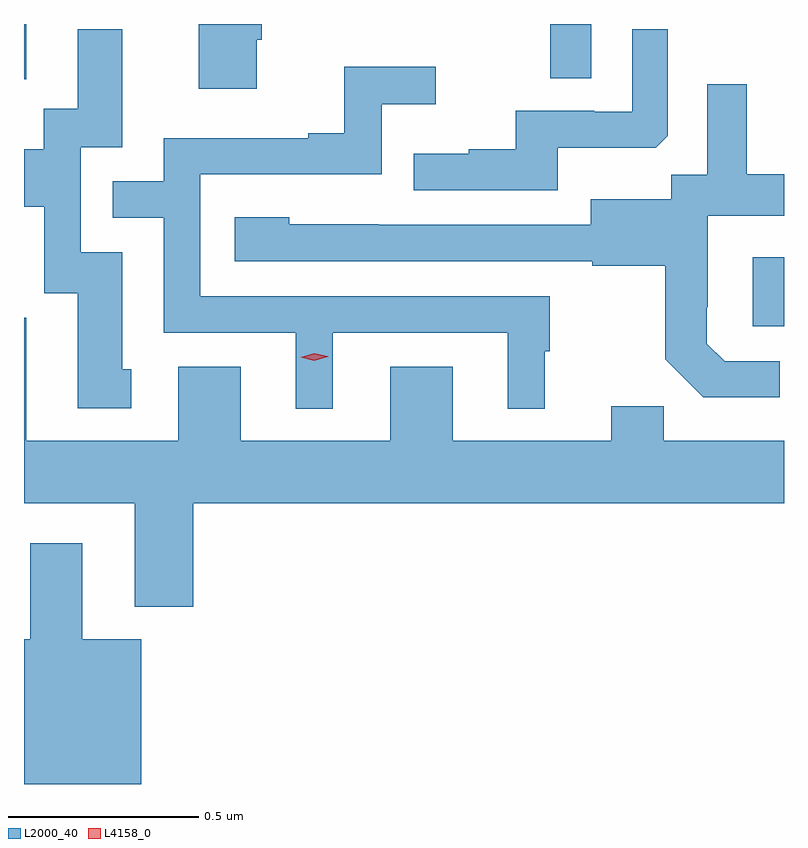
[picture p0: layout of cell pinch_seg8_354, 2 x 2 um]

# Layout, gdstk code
import gdstk
lib = gdstk.Library(unit=1e-6, precision=1e-09)
def R(c, l, rs):  # rectangles x0, y0, x1, y1
    for r in rs: c.add(gdstk.rectangle(r[:2], r[2:], *l))
def P(c, l, *ps):  # polygons
    for p in ps: c.add(gdstk.Polygon(p, *l))
L2000_40 = (2000, 40)
L4158_0 = (4158, 0)

pinch_seg8_354 = lib.new_cell('pinch_seg8_354')
R(pinch_seg8_354, L2000_40, [(433.937,1143.606,434.019,1143.787), (432.019,1144.256,432.025,1144.401), (433.404,1144.258,433.512,1144.401)])
P(pinch_seg8_354, L2000_40, [(432.631,1144.359),(432.644,1144.359),(432.644,1144.401),(432.479,1144.401),(432.479,1144.23),(432.631,1144.23)],
  [(432.301,1143.492),(432.277,1143.492),(432.277,1143.801),(432.168,1143.801),(432.168,1144.077),(432.277,1144.077),(432.277,1144.387),(432.161,1144.387),(432.161,1144.178),(432.071,1144.178),(432.071,1144.072),(432.019,1144.072),(432.019,1143.92),(432.072,1143.92),(432.072,1143.693),(432.161,1143.693),(432.161,1143.39),(432.301,1143.39)],
  [(433.423,1144.076),(433.681,1144.076),(433.713,1144.107),(433.713,1144.387),(433.62,1144.387),(433.62,1144.17),(433.52,1144.17),(433.52,1144.173),(433.313,1144.173),(433.313,1144.072),(433.189,1144.072),(433.189,1144.06),(433.045,1144.06),(433.045,1143.963),(433.423,1143.963)],
  [(432.832,1143.588),(433.292,1143.588),(433.292,1143.389),(433.39,1143.389),(433.39,1143.54),(433.402,1143.54),(433.402,1143.684),(432.483,1143.684),(432.483,1144.005),(432.96,1144.005),(432.96,1144.19),(433.102,1144.19),(433.102,1144.289),(432.862,1144.289),(432.862,1144.114),(432.767,1144.114),(432.767,1144.101),(432.387,1144.101),(432.387,1143.987),(432.253,1143.987),(432.253,1143.891),(432.387,1143.891),(432.387,1143.588),(432.734,1143.588),(432.734,1143.389),(432.832,1143.389)],
  [(434.008,1143.513),(433.863,1143.513),(433.816,1143.56),(433.816,1143.655),(433.818,1143.655),(433.818,1143.896),(434.019,1143.896),(434.019,1144.006),(433.921,1144.006),(433.921,1144.243),(433.817,1144.243),(433.817,1144.004),(433.722,1144.004),(433.722,1143.94),(433.511,1143.94),(433.511,1143.873),(432.953,1143.873),(432.953,1143.874),(432.717,1143.874),(432.717,1143.892),(432.573,1143.892),(432.573,1143.777),(433.515,1143.777),(433.515,1143.765),(433.707,1143.765),(433.707,1143.519),(433.807,1143.419),(434.008,1143.419)],
  [(432.464,1143.14),(434.019,1143.14),(434.019,1143.304),(433.703,1143.304),(433.703,1143.395),(433.565,1143.395),(433.565,1143.304),(433.147,1143.304),(433.147,1143.499),(432.983,1143.499),(432.983,1143.304),(432.589,1143.304),(432.589,1143.499),(432.425,1143.499),(432.425,1143.304),(432.025,1143.304),(432.025,1143.628),(432.019,1143.628),(432.019,1143.14),(432.311,1143.14),(432.311,1142.867),(432.464,1142.867)],
  [(432.328,1142.782),(432.172,1142.782),(432.172,1143.034),(432.035,1143.034),(432.035,1142.782),(432.019,1142.782),(432.019,1142.401),(432.328,1142.401)])
P(pinch_seg8_354, L4158_0, [(432.783,1143.515),(432.747,1143.524),(432.747,1143.524),(432.747,1143.524),(432.783,1143.535),(432.818,1143.527),(432.819,1143.526),(432.818,1143.526)])

lib.write_gds('pinch_seg8_354.gds')
